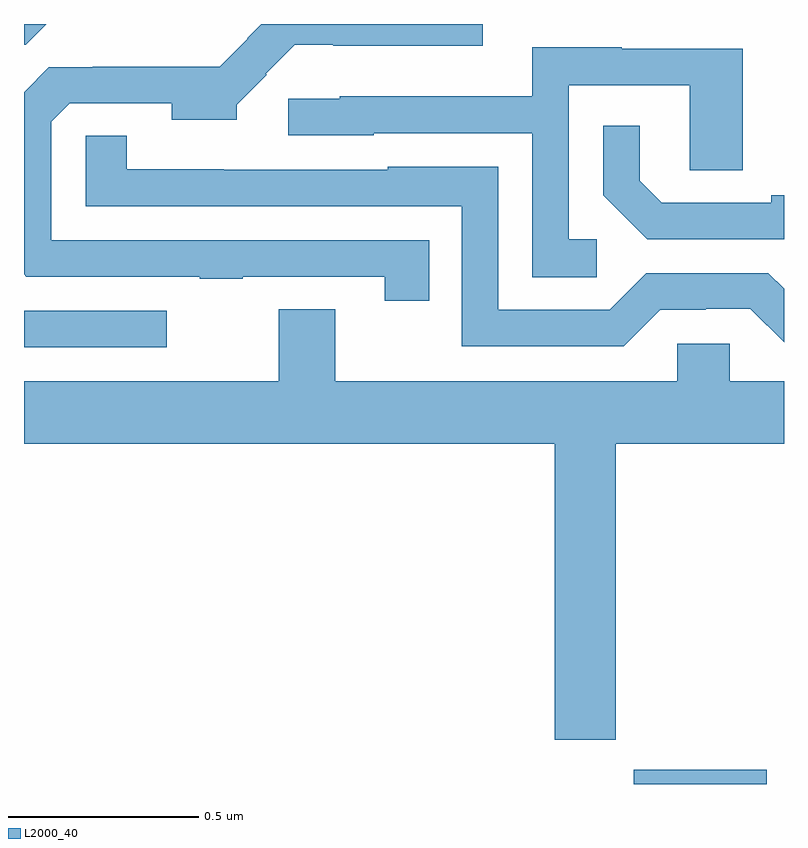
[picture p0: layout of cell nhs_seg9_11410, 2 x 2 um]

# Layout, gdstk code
import gdstk
lib = gdstk.Library(unit=1e-6, precision=1e-09)
def R(c, l, rs):  # rectangles x0, y0, x1, y1
    for r in rs: c.add(gdstk.rectangle(r[:2], r[2:], *l))
def P(c, l, *ps):  # polygons
    for p in ps: c.add(gdstk.Polygon(p, *l))
L2000_40 = (2000, 40)

nhs_seg9_11410 = lib.new_cell('nhs_seg9_11410')
R(nhs_seg9_11410, L2000_40, [(256.604,1219.5,256.954,1219.537), (255,1220.649,255.376,1220.745)])
P(nhs_seg9_11410, L2000_40, [(256.067,1220.931),(255.072,1220.931),(255.072,1221.243),(255.12,1221.291),(255.389,1221.291),(255.389,1221.248),(255.56,1221.248),(255.56,1221.288),(255.639,1221.366),(255.636,1221.369),(255.713,1221.446),(255.814,1221.446),(255.814,1221.443),(256.207,1221.443),(256.207,1221.5),(255.624,1221.5),(255.587,1221.463),(255.589,1221.461),(255.515,1221.388),(255.181,1221.388),(255.181,1221.386),(255.065,1221.386),(255,1221.321),(255,1220.841),(255.006,1220.835),(255.463,1220.835),(255.463,1220.83),(255.575,1220.83),(255.575,1220.835),(255.949,1220.835),(255.949,1220.772),(256.067,1220.772)],
  [(255.059,1221.5),(255,1221.5),(255,1221.445),(255.004,1221.445)],
  [(256.507,1220.934),(256.434,1220.934),(256.434,1221.339),(256.752,1221.339),(256.752,1221.115),(256.891,1221.115),(256.891,1221.435),(256.573,1221.435),(256.573,1221.439),(256.337,1221.439),(256.337,1221.31),(255.831,1221.31),(255.831,1221.303),(255.696,1221.303),(255.696,1221.207),(255.921,1221.207),(255.921,1221.213),(256.338,1221.213),(256.338,1220.833),(256.507,1220.833)],
  [(257,1221.05),(256.967,1221.05),(256.967,1221.03),(256.678,1221.03),(256.621,1221.087),(256.621,1221.232),(256.524,1221.232),(256.524,1221.05),(256.64,1220.934),(257,1220.934)],
  [(256.674,1220.748),(256.794,1220.748),(256.794,1220.751),(256.911,1220.751),(257,1220.662),(257,1220.803),(256.959,1220.844),(256.638,1220.844),(256.542,1220.748),(256.248,1220.748),(256.248,1221.124),(255.957,1221.124),(255.957,1221.117),(255.525,1221.117),(255.525,1221.118),(255.271,1221.118),(255.271,1221.206),(255.162,1221.206),(255.162,1221.021),(256.152,1221.021),(256.152,1220.652),(256.578,1220.652)],
  [(256.557,1220.396),(257,1220.396),(257,1220.56),(256.857,1220.56),(256.857,1220.658),(256.719,1220.658),(256.719,1220.56),(255.819,1220.56),(255.819,1220.75),(255.671,1220.75),(255.671,1220.56),(255,1220.56),(255,1220.396),(256.397,1220.396),(256.397,1219.617),(256.557,1219.617)])

lib.write_gds('nhs_seg9_11410.gds')
